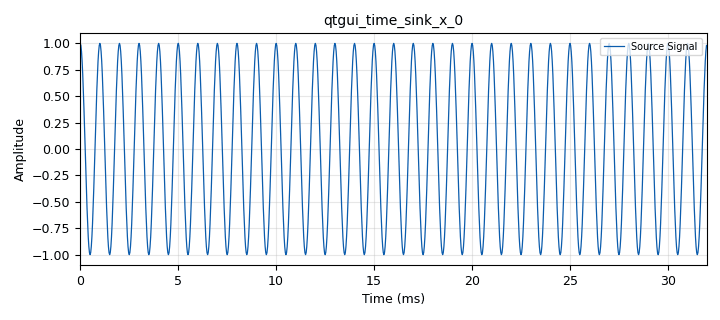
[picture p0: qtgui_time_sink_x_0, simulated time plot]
options:
  parameters:
    author: emmanuelkwakyenyantakyi
    generate_options: qt_gui
    id: udp_3_2
    output_language: python
    title: UDP sink and source to send and receive data in the same computer
  states: {}

blocks:
- name: f
  id: variable_qtgui_range
  parameters:
    start: '0'
    step: '10'
    stop: samp_rate/2
    value: 1e3
  states: {}
- name: samp_rate
  id: variable
  parameters:
    value: '32000'
  states: {}
- name: analog_sig_source_x_0
  id: analog_sig_source_x
  parameters:
    amp: '1'
    freq: f
    offset: '0'
    phase: '0'
    samp_rate: samp_rate
    type: float
    waveform: analog.GR_COS_WAVE
  states: {}
- name: blocks_throttle2_0
  id: blocks_throttle2
  parameters:
    samples_per_second: samp_rate
    type: float
  states: {}
- name: network_udp_sink_0
  id: network_udp_sink
  parameters:
    addr: 127.0.0.1
    header: '0'
    payloadsize: '1472'
    port: '2000'
    send_eof: 'False'
    type: float
  states: {}
- name: network_udp_source_0
  id: network_udp_source
  parameters:
    header: '0'
    ipv6: 'False'
    notify_missed: 'False'
    port: '2000'
    src_zeros: 'False'
    type: float
  states: {}
- name: qtgui_time_sink_x_0
  id: qtgui_time_sink_x
  parameters:
    autoscale: 'True'
    label1: Source Signal
    size: '1024'
    srate: samp_rate
    type: float
  states: {}
- name: qtgui_time_sink_x_0_0
  id: qtgui_time_sink_x
  parameters:
    autoscale: 'True'
    color1: red
    label1: Received signal
    size: '1024'
    srate: samp_rate
    type: float
  states: {}

connections:
- [analog_sig_source_x_0, '0', blocks_throttle2_0, '0']
- [analog_sig_source_x_0, '0', qtgui_time_sink_x_0, '0']
- [blocks_throttle2_0, '0', network_udp_sink_0, '0']
- [network_udp_source_0, '0', qtgui_time_sink_x_0_0, '0']

metadata:
  file_format: 1
  grc_version: 3.10.12.0
